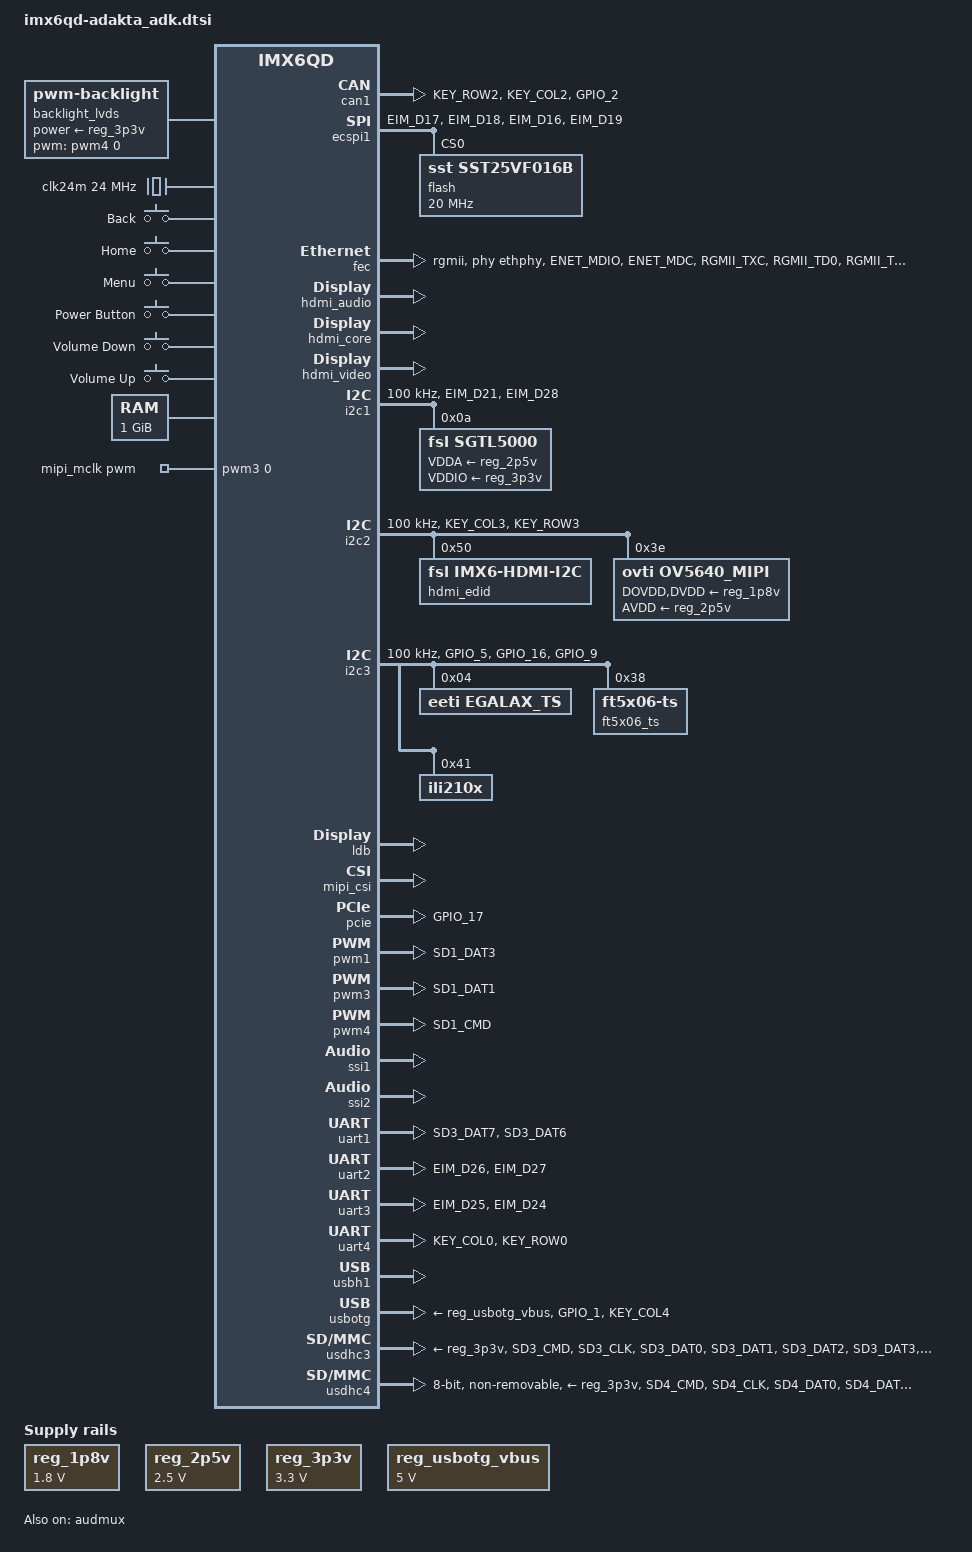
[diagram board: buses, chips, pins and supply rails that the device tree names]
/* 
 * Copyright 2017 Adakta, Inc.
 * Copyright 2013-2016 Boundary Devices, Inc.
 * Copyright 2011-2015 Freescale Semiconductor, Inc.
 * Copyright 2011 Linaro Ltd.
 * 
 * The code contained herein is licensed under the GNU General Public
 * License. You may obtain a copy of the GNU General Public License
 * Version 2 or later at the following locations:
 *
 * http://www.opensource.org/licenses/gpl-license.html
 * http://www.gnu.org/copyleft/gpl.html
 */
#include <dt-bindings/gpio/gpio.h>
#include <dt-bindings/input/input.h>

&iomuxc {
	pinctrl-names = "default";
	pinctrl-0 = <&pinctrl_hog>;

	iomuxc_imx6q_adakta_adk: iomuxc-imx6q-adakta_adkgrp {
		status = "okay";
	};
};

&iomuxc_imx6q_adakta_adk {
	pinctrl_audmux: audmuxgrp {
		fsl,pins = <
			MX6QDL_PAD_SD2_DAT0__AUD4_RXD		0x130b0
			MX6QDL_PAD_SD2_DAT3__AUD4_TXC		0x130b0
			MX6QDL_PAD_SD2_DAT2__AUD4_TXD		0x110b0
			MX6QDL_PAD_SD2_DAT1__AUD4_TXFS		0x130b0
		>;
	};


	pinctrl_ecspi1: ecspi1grp {
		fsl,pins = <
			MX6QDL_PAD_EIM_D17__ECSPI1_MISO		0x100b1
			MX6QDL_PAD_EIM_D18__ECSPI1_MOSI		0x100b1
			MX6QDL_PAD_EIM_D16__ECSPI1_SCLK		0x000b1
#define GP_ECSPI1_NOR_CS	<&gpio3 19 GPIO_ACTIVE_LOW>
			MX6QDL_PAD_EIM_D19__GPIO3_IO19		0x0b0b1
		>;
	};

	pinctrl_enet: enetgrp {
		fsl,pins = <
			MX6QDL_PAD_ENET_MDIO__ENET_MDIO		0x1b0b0
			MX6QDL_PAD_ENET_MDC__ENET_MDC		0x1b0b0
			MX6QDL_PAD_RGMII_TXC__RGMII_TXC		0x100b0
			MX6QDL_PAD_RGMII_TD0__RGMII_TD0		0x100b0
			MX6QDL_PAD_RGMII_TD1__RGMII_TD1		0x100b0
			MX6QDL_PAD_RGMII_TD2__RGMII_TD2		0x100b0
			MX6QDL_PAD_RGMII_TD3__RGMII_TD3		0x100b0
			MX6QDL_PAD_RGMII_TX_CTL__RGMII_TX_CTL	0x100b0
			MX6QDL_PAD_ENET_REF_CLK__ENET_TX_CLK	0x100b0
			MX6QDL_PAD_RGMII_RXC__RGMII_RXC		0x1b0b0
			MX6QDL_PAD_RGMII_RD0__RGMII_RD0		0x1b0b0
			MX6QDL_PAD_RGMII_RD1__RGMII_RD1		0x1b0b0
			MX6QDL_PAD_RGMII_RD2__RGMII_RD2		0x1b0b0
			MX6QDL_PAD_RGMII_RD3__RGMII_RD3		0x1b0b0
			MX6QDL_PAD_RGMII_RX_CTL__RGMII_RX_CTL	0x1b0b0
#define GP_ENET_PHY_RESET	<&gpio3 23 GPIO_ACTIVE_LOW>
			MX6QDL_PAD_EIM_D23__GPIO3_IO23	0x030b0
#define GPIRQ_ENET_PHY		<&gpio1 28 IRQ_TYPE_LEVEL_LOW>
			MX6QDL_PAD_ENET_TX_EN__GPIO1_IO28	0x1b0b0
		>;
	};

	pinctrl_flexcan1: flexcan1grp {
		fsl,pins = <
			MX6QDL_PAD_KEY_ROW2__FLEXCAN1_RX	0x1b0b0
			MX6QDL_PAD_KEY_COL2__FLEXCAN1_TX	0x1b0b0
#define GP_FLEXCAN1_STANDBY	<&gpio1 2 GPIO_ACTIVE_HIGH>
			MX6QDL_PAD_GPIO_2__GPIO1_IO02		0x0b0b0
		>;
	};

	pinctrl_gpio_keys: gpio-keysgrp {
		fsl,pins = <
#define GP_GPIOKEY_POWER	<&gpio2 3 GPIO_ACTIVE_LOW>
			MX6QDL_PAD_NANDF_D3__GPIO2_IO03		0x1b0b0
#define GP_GPIOKEY_MENU		<&gpio2 1 GPIO_ACTIVE_LOW>
			MX6QDL_PAD_NANDF_D1__GPIO2_IO01		0x1b0b0
#define GP_GPIOKEY_HOME		<&gpio2 4 GPIO_ACTIVE_LOW>
			MX6QDL_PAD_NANDF_D4__GPIO2_IO04		0x1b0b0
#define GP_GPIOKEY_BACK		<&gpio2 2 GPIO_ACTIVE_LOW>
			MX6QDL_PAD_NANDF_D2__GPIO2_IO02		0x1b0b0
#define GP_GPIOKEY_VOL_UP	<&gpio7 13 GPIO_ACTIVE_LOW>
			MX6QDL_PAD_GPIO_18__GPIO7_IO13		0x1b0b0
#define GP_GPIOKEY_VOL_DN	<&gpio4 5 GPIO_ACTIVE_LOW>
			MX6QDL_PAD_GPIO_19__GPIO4_IO05		0x1b0b0
		>;
	};

	pinctrl_hog: hoggrp {
		fsl,pins = <
			MX6QDL_PAD_SD3_DAT4__GPIO7_IO01		0x1b0b0		/* Spare */
			MX6QDL_PAD_NANDF_D7__GPIO2_IO07		0x1b0b0		/* Spare */
		>;
	};

	pinctrl_i2c1: i2c1grp {
		fsl,pins = <
			MX6QDL_PAD_EIM_D21__I2C1_SCL		0x4001b8b1
			MX6QDL_PAD_EIM_D28__I2C1_SDA		0x4001b8b1
		>;
	};

	pinctrl_i2c1_sgtl5000: i2c1-sgtl5000grp {
		fsl,pins = <
			MX6QDL_PAD_GPIO_0__CCM_CLKO1		0x000b0		/* sys_mclk */
		>;
	};

	pinctrl_i2c2: i2c2grp {
		fsl,pins = <
			MX6QDL_PAD_KEY_COL3__I2C2_SCL		0x4001b8b1
			MX6QDL_PAD_KEY_ROW3__I2C2_SDA		0x4001b8b1
		>;
	};


	pinctrl_pcie: pciegrp {
		fsl,pins = <
#define GP_PCIE_RESET	<&gpio7 12 GPIO_ACTIVE_LOW>
			MX6QDL_PAD_GPIO_17__GPIO7_IO12		0x0b0b0
		>;
	};

	pinctrl_i2c2_ov5640_mipi: i2c2-ov5640-mipigrp {
		fsl,pins = <
#define GP_OV5640_MIPI_POWER_DOWN	<&gpio6 9 GPIO_ACTIVE_HIGH>
			MX6QDL_PAD_NANDF_WP_B__GPIO6_IO09	0x0b0b0
#define GP_OV5640_MIPI_RESET		<&gpio2 5 GPIO_ACTIVE_LOW>
			MX6QDL_PAD_NANDF_D5__GPIO2_IO05		0x000b0
		>;
	};

	pinctrl_i2c3: i2c3grp {
		fsl,pins = <
			MX6QDL_PAD_GPIO_5__I2C3_SCL		0x4001b8b1
			MX6QDL_PAD_GPIO_16__I2C3_SDA		0x4001b8b1
#define GPIRQ_I2C3_J7	<&gpio1 9 IRQ_TYPE_EDGE_FALLING>
#define GP_I2C3_J7	<&gpio1 9 GPIO_ACTIVE_LOW>
			MX6QDL_PAD_GPIO_9__GPIO1_IO09		0x1b0b0		/* I2C3 J7 interrupt */
		>;
	};

	pinctrl_pwm1: pwm1grp {
		fsl,pins = <
			MX6QDL_PAD_SD1_DAT3__PWM1_OUT		0x1b0b1
		>;
	};

	pinctrl_pwm3: pwm3grp {
		fsl,pins = <
			MX6QDL_PAD_SD1_DAT1__PWM3_OUT		0x1b0b1
		>;
	};

	pinctrl_pwm4: pwm4grp {
		fsl,pins = <
			MX6QDL_PAD_SD1_CMD__PWM4_OUT		0x1b0b1
		>;
	};

	pinctrl_reg_usbotg_vbus: reg-usbotg-vbusgrp {
		fsl,pins = <
#define GP_REG_USBOTG	<&gpio3 22 GPIO_ACTIVE_HIGH>
			MX6QDL_PAD_EIM_D22__GPIO3_IO22		0x030b0
		>;
	};


	pinctrl_uart1: uart1grp {
		fsl,pins = <
			MX6QDL_PAD_SD3_DAT7__UART1_TX_DATA	0x1b0b1
			MX6QDL_PAD_SD3_DAT6__UART1_RX_DATA	0x1b0b1
		>;
	};

	pinctrl_uart2: uart2grp {
		fsl,pins = <
			MX6QDL_PAD_EIM_D26__UART2_TX_DATA	0x1b0b1
			MX6QDL_PAD_EIM_D27__UART2_RX_DATA	0x1b0b1
		>;
	};

	pinctrl_uart3: uart3grp {
		fsl,pins = <
			MX6QDL_PAD_EIM_D25__UART3_RX_DATA	0x1b0b1
			MX6QDL_PAD_EIM_D24__UART3_TX_DATA	0x1b0b1
		>;
	};

	pinctrl_uart4: uart4grp {
		fsl,pins = <
			MX6QDL_PAD_KEY_COL0__UART4_TX_DATA	0x1b0b1
			MX6QDL_PAD_KEY_ROW0__UART4_RX_DATA 	0x1b0b1
		>;
	};

	pinctrl_usbotg: usbotggrp {
		fsl,pins = <
			MX6QDL_PAD_GPIO_1__USB_OTG_ID		0x17059
			MX6QDL_PAD_KEY_COL4__USB_OTG_OC		0x1b0b0
		>;
	};


	pinctrl_usdhc3: usdhc3grp {
		fsl,pins = <
			MX6QDL_PAD_SD3_CMD__SD3_CMD		0x17059
			MX6QDL_PAD_SD3_CLK__SD3_CLK		0x10059
			MX6QDL_PAD_SD3_DAT0__SD3_DATA0		0x17059
			MX6QDL_PAD_SD3_DAT1__SD3_DATA1		0x17059
			MX6QDL_PAD_SD3_DAT2__SD3_DATA2		0x17059
			MX6QDL_PAD_SD3_DAT3__SD3_DATA3		0x17059
#define GP_USDHC3_CD	<&gpio7 0 GPIO_ACTIVE_LOW>
			MX6QDL_PAD_SD3_DAT5__GPIO7_IO00		0x1b0b0
		>;
	};

	pinctrl_usdhc4: usdhc4grp {
		fsl,pins = <
			MX6QDL_PAD_SD4_CMD__SD4_CMD		0x17071
			MX6QDL_PAD_SD4_CLK__SD4_CLK		0x10071
			MX6QDL_PAD_SD4_DAT0__SD4_DATA0		0x17071
			MX6QDL_PAD_SD4_DAT1__SD4_DATA1		0x17071
			MX6QDL_PAD_SD4_DAT2__SD4_DATA2		0x17071
			MX6QDL_PAD_SD4_DAT3__SD4_DATA3		0x17071
			MX6QDL_PAD_SD4_DAT4__SD4_DATA4		0x17071
			MX6QDL_PAD_SD4_DAT5__SD4_DATA5		0x17071
			MX6QDL_PAD_SD4_DAT6__SD4_DATA6		0x17071
			MX6QDL_PAD_SD4_DAT7__SD4_DATA7		0x17071
		>;
	};

	pinctrl_usdhc4_100mhz: usdhc4grp-100mhz {
		fsl,pins = <
			MX6QDL_PAD_SD4_CMD__SD4_CMD		0x170B9
			MX6QDL_PAD_SD4_CLK__SD4_CLK		0x100B9
			MX6QDL_PAD_SD4_DAT0__SD4_DATA0		0x170B9
			MX6QDL_PAD_SD4_DAT1__SD4_DATA1		0x170B9
			MX6QDL_PAD_SD4_DAT2__SD4_DATA2		0x170B9
			MX6QDL_PAD_SD4_DAT3__SD4_DATA3		0x170B9
			MX6QDL_PAD_SD4_DAT4__SD4_DATA4		0x170B9
			MX6QDL_PAD_SD4_DAT5__SD4_DATA5		0x170B9
			MX6QDL_PAD_SD4_DAT6__SD4_DATA6		0x170B9
			MX6QDL_PAD_SD4_DAT7__SD4_DATA7		0x170B9
		>;
	};

	pinctrl_usdhc4_200mhz: usdhc4grp-200mhz {
		fsl,pins = <
			MX6QDL_PAD_SD4_CMD__SD4_CMD		0x170F9
			MX6QDL_PAD_SD4_CLK__SD4_CLK 		0x100F9
			MX6QDL_PAD_SD4_DAT0__SD4_DATA0		0x170F9
			MX6QDL_PAD_SD4_DAT1__SD4_DATA1 		0x170F9
			MX6QDL_PAD_SD4_DAT2__SD4_DATA2 		0x170F9
			MX6QDL_PAD_SD4_DAT3__SD4_DATA3 		0x170F9
			MX6QDL_PAD_SD4_DAT4__SD4_DATA4 		0x170F9
			MX6QDL_PAD_SD4_DAT5__SD4_DATA5 		0x170F9
			MX6QDL_PAD_SD4_DAT6__SD4_DATA6 		0x170F9
			MX6QDL_PAD_SD4_DAT7__SD4_DATA7 		0x170F9
		>;
	};
};

/ {
	aliases {
		backlight_lvds = &backlight_lvds;
		fb_hdmi = &fb_hdmi;
		fb_lvds = &fb_lvds;
		ldb = &ldb;
		mmc0 = &usdhc3;
		mmc1 = &usdhc4;
		mxcfb0 = &fb_lvds;
		mxcfb2 = &fb_hdmi;
		pwm_lvds = &pwm4;
		t_lvds = &t_lvds;
	};

	backlight_lvds: backlight_lvds {
		brightness-levels = <0 1 2 3 4 5 6 7 8 9 10>;
		compatible = "pwm-backlight";
		default-brightness-level = <8>;
		display = <&fb_lvds>;
		power-supply = <&reg_3p3v>;
		pwms = <&pwm4 0 5000000>;
		status = "okay";
	};

	chosen {
		stdout-path = &uart2;
	};

	clocks {
		clk24m: clk24m {
			compatible = "fixed-clock";
			#clock-cells = <0>;
			clock-frequency = <24000000>;
		};
	};

	fb_lvds: fb@0 {
		compatible = "fsl,mxc_sdc_fb";
		disp_dev = "ldb";
		interface_pix_fmt = "RGB666";
		default_bpp = <16>;
		int_clk = <0>;
		late_init = <0>;
		status = "disabled";
	};

	fb_hdmi: fb@2 {
		compatible = "fsl,mxc_sdc_fb";
		disp_dev = "hdmi";
		interface_pix_fmt = "RGB24";
		mode_str ="1280x720M@60";
		default_bpp = <32>;
		int_clk = <0>;
		late_init = <0>;
		status = "disabled";
	};

	gpio-keys {
		compatible = "gpio-keys";
		pinctrl-names = "default";
		pinctrl-0 = <&pinctrl_gpio_keys>;

		back {
			label = "Back";
			gpios = GP_GPIOKEY_BACK;
			linux,code = <KEY_BACK>;
		};

		home {
			label = "Home";
			gpios = GP_GPIOKEY_HOME;
			linux,code = <KEY_HOMEPAGE>;
		};

		menu {
			label = "Menu";
			gpios = GP_GPIOKEY_MENU;
			linux,code = <KEY_MENU>;
		};

		power {
			label = "Power Button";
			gpios = GP_GPIOKEY_POWER;
			linux,code = <KEY_POWER>;
			gpio-key,wakeup;
		};

		volume-down {
			label = "Volume Down";
			gpios = GP_GPIOKEY_VOL_DN;
			linux,code = <KEY_VOLUMEDOWN>;
		};

		volume-up {
			label = "Volume Up";
			gpios = GP_GPIOKEY_VOL_UP;
			linux,code = <KEY_VOLUMEUP>;
		};
	};

	memory {
		reg = <0x10000000 0x40000000>;
	};

	mipi_mclk: mipi_mclk {
		compatible = "pwm-clock";
		#clock-cells = <0>;
		clock-frequency = <22000000>;
		clock-output-names = "mipi_mclk";
		pwms = <&pwm3 0 45>; /* 1 / 45 ns = 22 MHz */
	};

	regulators {
		compatible = "simple-bus";
		#address-cells = <1>;
		#size-cells = <0>;

		reg_1p8v: regulator@0 {
			compatible = "regulator-fixed";
			reg = <0>;
			regulator-name = "1P8V";
			regulator-min-microvolt = <1800000>;
			regulator-max-microvolt = <1800000>;
			regulator-always-on;
		};

		reg_2p5v: regulator@1 {
			compatible = "regulator-fixed";
			reg = <1>;
			regulator-name = "2P5V";
			regulator-min-microvolt = <2500000>;
			regulator-max-microvolt = <2500000>;
			regulator-always-on;
		};

		reg_3p3v: regulator@2 {
			compatible = "regulator-fixed";
			reg = <2>;
			regulator-name = "3P3V";
			regulator-min-microvolt = <3300000>;
			regulator-max-microvolt = <3300000>;
			regulator-always-on;
		};

		reg_usbotg_vbus: regulator@3 {
			compatible = "regulator-fixed";
			reg = <3>;
			pinctrl-names = "default";
			pinctrl-0 = <&pinctrl_reg_usbotg_vbus>;
			regulator-name = "usb_otg_vbus";
			regulator-min-microvolt = <5000000>;
			regulator-max-microvolt = <5000000>;
			gpio = GP_REG_USBOTG;
			enable-active-high;
		};

	};

	sound {
		compatible = "fsl,imx6q-adakta_adk-sgtl5000",
			     "fsl,imx-audio-sgtl5000";
		model = "imx6q-adakta_adk-sgtl5000";
		ssi-controller = <&ssi1>;
		audio-codec = <&sgtl5000>;
		audio-routing =
			"MIC_IN", "Mic Jack",
			"Mic Jack", "Mic Bias",
			"Headphone Jack", "HP_OUT";
		mux-int-port = <1>;
		mux-ext-port = <3>;
	};

	sound-hdmi {
		compatible = "fsl,imx6q-audio-hdmi",
			     "fsl,imx-audio-hdmi";
		model = "imx-audio-hdmi";
		hdmi-controller = <&hdmi_audio>;
	};

	v4l2_cap_0: v4l2_cap_0 {
		compatible = "fsl,imx6q-v4l2-capture";
		ipu_id = <0>;
		csi_id = <0>;
		mclk_source = <0>;
		status = "okay";
	};

	v4l2_cap_1: v4l2_cap_1 {
		compatible = "fsl,imx6q-v4l2-capture";
		ipu_id = <0>;
		csi_id = <1>;
		mipi_camera = <1>;
		mclk_source = <0>;
		status = "okay";
	};

	v4l2_cap_2: v4l2_cap_2 {
		compatible = "fsl,imx6q-v4l2-capture";
		ipu_id = <0>;
		csi_id = <1>;
		mclk_source = <0>;
		status = "okay";
	};

	v4l2_cap_3: v4l2_cap_3 {
		compatible = "fsl,imx6q-v4l2-capture";
		ipu_id = <0>;
		csi_id = <0>;
		mipi_camera = <1>;
		mclk_source = <0>;
		status = "okay";
	};

	v4l2_out {
		compatible = "fsl,mxc_v4l2_output";
		status = "okay";
	};
};

&audmux {
	pinctrl-names = "default";
	pinctrl-0 = <&pinctrl_audmux>;
	status = "okay";
};

&can1 {
	pinctrl-names = "default";
	pinctrl-0 = <&pinctrl_flexcan1>;
	trx-stby-gpio = GP_FLEXCAN1_STANDBY;
	status = "okay";
};

&ecspi1 {
	fsl,spi-num-chipselects = <1>;
	cs-gpios = GP_ECSPI1_NOR_CS;
	pinctrl-names = "default";
	pinctrl-0 = <&pinctrl_ecspi1>;
	status = "okay";

	flash: m25p80@0 {
		compatible = "sst,sst25vf016b";
		spi-max-frequency = <20000000>;
		reg = <0>;
		#address-cells = <1>;
		#size-cells = <1>;
		mtd@00000000 {
			label = "U-Boot";
			reg = <0x0 0xC0000>;
		};

		mtd@000C0000 {
			label = "env";
			reg = <0xC0000 0x2000>;
		};
		mtd@000C2000 {
			label = "splash";
			reg = <0xC2000 0x13e000>;
		};
	};
};

&fec {
	phy-handle = <&ethphy>;
	phy-mode = "rgmii";
	phy-reset-gpios = GP_ENET_PHY_RESET;
	pinctrl-names = "default";
	pinctrl-0 = <&pinctrl_enet>;
	rxc-skew-ps = <3000>;
	rxd0-skew-ps = <0>;
	rxd1-skew-ps = <0>;
	rxd2-skew-ps = <0>;
	rxd3-skew-ps = <0>;
	rxdv-skew-ps = <0>;
	txc-skew-ps = <3000>;
	txd0-skew-ps = <0>;
	txd1-skew-ps = <0>;
	txd2-skew-ps = <0>;
	txd3-skew-ps = <0>;
	txen-skew-ps = <0>;
	status = "okay";

	mdio {
		#address-cells = <0>;
		#size-cells = <1>;

		ethphy: ethernet-phy {
			interrupts-extended = GPIRQ_ENET_PHY;
		};
	};
};

&hdmi_audio {
	status = "okay";
};

&hdmi_core {
	ipu_id = <0>;
	disp_id = <0>;
	status = "okay";
};

&hdmi_video {
	fsl,phy_reg_vlev = <0x0294>;
	fsl,phy_reg_cksymtx = <0x800d>;
	status = "okay";
};

&i2c1 {
	clock-frequency = <100000>;
	pinctrl-names = "default";
	pinctrl-0 = <&pinctrl_i2c1>;
	status = "okay";

	sgtl5000: sgtl5000@0a {
		compatible = "fsl,sgtl5000";
		pinctrl-names = "default";
		pinctrl-0 = <&pinctrl_i2c1_sgtl5000>;
		reg = <0x0a>;
		clocks = <&clks IMX6QDL_CLK_CKO>;
		VDDA-supply = <&reg_2p5v>;
		VDDIO-supply = <&reg_3p3v>;
	};

};

&i2c2 {
	clock-frequency = <100000>;
	pinctrl-names = "default";
	pinctrl-0 = <&pinctrl_i2c2>;
	status = "okay";

	hdmi_edid: edid@50 {
		compatible = "fsl,imx6-hdmi-i2c";
		reg = <0x50>;
	};

	ov5640_mipi: ov5640_mipi@3e {
		compatible = "ovti,ov5640_mipi";
		reg = <0x3e>;
		pinctrl-names = "default";
		pinctrl-0 = <&pinctrl_i2c2_ov5640_mipi>;
		clocks = <&mipi_mclk>;
		clock-names = "csi_mclk";
		DOVDD-supply = <&reg_1p8v>;
		AVDD-supply = <&reg_2p5v>;
		DVDD-supply = <&reg_1p8v>;
		pwn-gpios = GP_OV5640_MIPI_POWER_DOWN;
		rst-gpios = GP_OV5640_MIPI_RESET;
		ipu_id = <0>;
		csi_id = <1>;
		mclk = <22000000>;
		mclk_source = <0>;
	};
};

&i2c3 {
	clock-frequency = <100000>;
	pinctrl-names = "default";
	pinctrl-0 = <&pinctrl_i2c3>;
	status = "okay";

	egalax_ts@04 {
		compatible = "eeti,egalax_ts";
		reg = <0x04>;
		interrupts-extended = GPIRQ_I2C3_J7;
		wakeup-gpios = GP_I2C3_J7;
	};

	ft5x06_ts@38 {
		compatible = "ft5x06-ts";
		reg = <0x38>;
		interrupts-extended = GPIRQ_I2C3_J7;
		wakeup-gpios = GP_I2C3_J7;
	};


	ili210x@41 {
		compatible = "ili210x";
		reg = <0x41>;
		interrupts-extended = GPIRQ_I2C3_J7;
		wakeup-gpios = GP_I2C3_J7;
	};

};

&ldb {
	status = "okay";

	lvds-channel@0 {
		crtc = "ipu1-di1";
		fsl,data-mapping = "spwg";
		fsl,data-width = <18>;
		status = "okay";
		primary;

		display-timings {
			t_lvds: t_lvds_default {
				/* lg1280x800 values may be changed in bootscript */
				clock-frequency = <72000000>;
				hactive = <1280>;
				vactive = <800>;
				hback-porch = <48>;
				hfront-porch = <80>;
				vback-porch = <15>;
				vfront-porch = <2>;
				hsync-len = <32>;
				vsync-len = <6>;
			};
			okaya1024x600: okaya7x0WP {
				clock-frequency = <52000000>;
				hactive = <1024>;
				vactive = <600>;
				hback-porch = <220>;
				hfront-porch = <40>;
				vback-porch = <7>;
				vfront-porch = <21>;
				hsync-len = <60>;
				vsync-len = <10>;
			};
			hannstar: hsd100pxn1 {
				clock-frequency = <65000000>;
				hactive = <1024>;
				vactive = <768>;
				hback-porch = <220>;
				hfront-porch = <40>;
				vback-porch = <21>;
				vfront-porch = <7>;
				hsync-len = <60>;
				vsync-len = <10>;
			};
			AA065VE11: AA065VE11 {
				clock-frequency = <43748359>;
				hactive = <640>;
				vactive = <480>;
				hback-porch = <148>;
				hfront-porch = <116>;
				vback-porch = <83>;
				vfront-porch = <60>;
				hsync-len = <96>;
				vsync-len = <2>;
			};
			vga_lvds: vga {
				clock-frequency = <25175000>;
				hactive = <640>;
				vactive = <480>;
				hback-porch = <48>;
				hfront-porch = <16>;
				vback-porch = <33>;
				vfront-porch = <10>;
				hsync-len = <96>;
				vsync-len = <2>;
			};
		};
	};
};

&mipi_csi {
	lanes = <2>;
	status = "okay";
};

&pcie {
	pinctrl-names = "default";
	pinctrl-0 = <&pinctrl_pcie>;
	reset-gpio = GP_PCIE_RESET;
	status = "okay";
};

&pwm1 {
	pinctrl-names = "default";
	pinctrl-0 = <&pinctrl_pwm1>;
	status = "okay";
};

&pwm3 {
	pinctrl-names = "default";
	pinctrl-0 = <&pinctrl_pwm3>;
	status = "okay";
};

&pwm4 {
	pinctrl-names = "default";
	pinctrl-0 = <&pinctrl_pwm4>;
	status = "okay";
};

&ssi1 {
	fsl,mode = "i2s-slave";
	status = "okay";
};

&ssi2 {
	fsl,mode = "i2s-slave";
	status = "okay";
};

&uart1 {
	pinctrl-names = "default";
	pinctrl-0 = <&pinctrl_uart1>;
	status = "okay";
};

&uart2 {
	pinctrl-names = "default";
	pinctrl-0 = <&pinctrl_uart2>;
	status = "okay";
};

&uart3 {
	pinctrl-names = "default";
	pinctrl-0 = <&pinctrl_uart3>;
	status = "okay";
};

&uart4 {
	pinctrl-names = "default";
	pinctrl-0 = <&pinctrl_uart4>;
	status = "okay";
};

&usbh1 {
	disable-over-current;
	status = "okay";
};

&usbotg {
	vbus-supply = <&reg_usbotg_vbus>;
	pinctrl-names = "default";
	pinctrl-0 = <&pinctrl_usbotg>;
	disable-over-current;
	status = "okay";
};

&usdhc3 {
	pinctrl-names = "default";
	pinctrl-0 = <&pinctrl_usdhc3>;
	cd-gpios = GP_USDHC3_CD;
	vmmc-supply = <&reg_3p3v>;
	status = "okay";
};

&usdhc4 {
	pinctrl-names = "default", "state_100mhz", "state_200mhz";
	pinctrl-0 = <&pinctrl_usdhc4>;
	pinctrl-1 = <&pinctrl_usdhc4_100mhz>;
	pinctrl-2 = <&pinctrl_usdhc4_200mhz>;
	bus-width = <8>;
	non-removable;
	cap-power-off-card;
	keep-power-in-suspend;
	vmmc-supply = <&reg_3p3v>;
	status = "okay";
};
